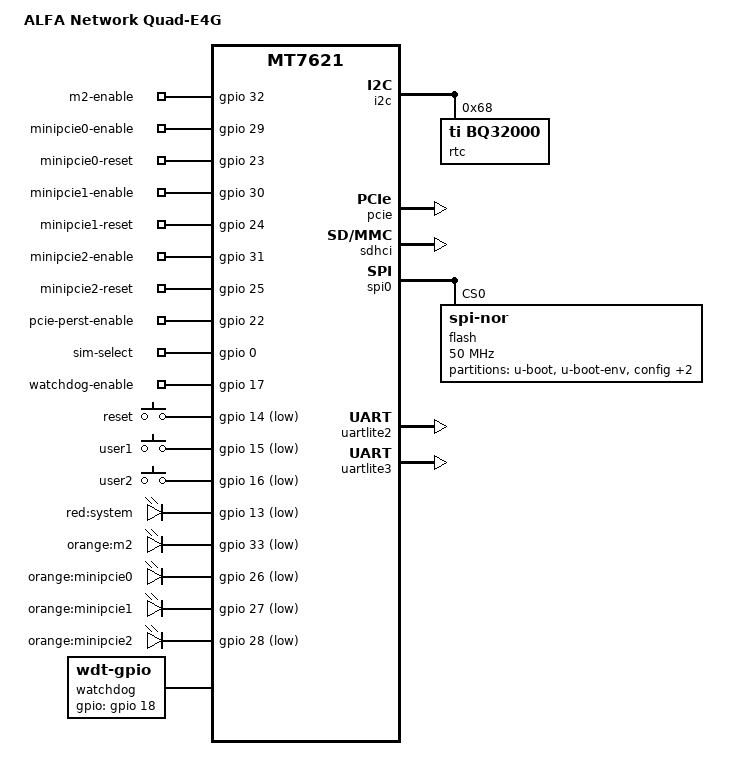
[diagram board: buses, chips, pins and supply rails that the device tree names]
// SPDX-License-Identifier: GPL-2.0-or-later OR MIT

#include "mt7621.dtsi"

#include <dt-bindings/gpio/gpio.h>
#include <dt-bindings/input/input.h>

/ {
	compatible = "alfa-network,quad-e4g", "mediatek,mt7621-soc";
	model = "ALFA Network Quad-E4G";

	aliases {
		label-mac-device = &gmac0;
		led-boot = &led_system;
		led-failsafe = &led_system;
		led-running = &led_system;
		led-upgrade = &led_system;
	};

	chosen {
		bootargs = "console=ttyS0,115200";
	};

	gpio-export {
		compatible = "gpio-export";
		#size-cells = <0>;

		m2-enable {
			gpio-export,name = "m2-enable";
			gpio-export,output = <1>;
			gpios = <&gpio 32 GPIO_ACTIVE_HIGH>;
		};

		minipcie0-enable {
			gpio-export,name = "minipcie0-enable";
			gpio-export,output = <1>;
			gpios = <&gpio 29 GPIO_ACTIVE_HIGH>;
		};

		minipcie0-reset {
			gpio-export,name = "minipcie0-reset";
			gpio-export,output = <0>;
			gpios = <&gpio 23 GPIO_ACTIVE_HIGH>;
		};

		minipcie1-enable {
			gpio-export,name = "minipcie1-enable";
			gpio-export,output = <1>;
			gpios = <&gpio 30 GPIO_ACTIVE_HIGH>;
		};

		minipcie1-reset {
			gpio-export,name = "minipcie1-reset";
			gpio-export,output = <0>;
			gpios = <&gpio 24 GPIO_ACTIVE_HIGH>;
		};

		minipcie2-enable {
			gpio-export,name = "minipcie2-enable";
			gpio-export,output = <1>;
			gpios = <&gpio 31 GPIO_ACTIVE_HIGH>;
		};

		minipcie2-reset {
			gpio-export,name = "minipcie2-reset";
			gpio-export,output = <0>;
			gpios = <&gpio 25 GPIO_ACTIVE_HIGH>;
		};

		pcie-perst-disable {
			gpio-export,name = "pcie-perst-enable";
			gpio-export,output = <0>;
			gpios = <&gpio 22 GPIO_ACTIVE_HIGH>;
		};

		sim-select {
			gpio-export,name = "sim-select";
			gpio-export,output = <1>;
			gpios = <&gpio 0 GPIO_ACTIVE_HIGH>;
		};

		watchdog-enable {
			gpio-export,name = "watchdog-enable";
			gpio-export,output = <1>;
			gpios = <&gpio 17 GPIO_ACTIVE_HIGH>;
		};
	};

	keys {
		compatible = "gpio-keys";

		reset {
			label = "reset";
			gpios = <&gpio 14 GPIO_ACTIVE_LOW>;
			linux,code = <KEY_RESTART>;
		};

		user1 {
			label = "user1";
			gpios = <&gpio 15 GPIO_ACTIVE_LOW>;
			linux,code = <BTN_0>;
		};

		user2 {
			label = "user2";
			gpios = <&gpio 16 GPIO_ACTIVE_LOW>;
			linux,code = <BTN_1>;
		};
	};

	leds {
		compatible = "gpio-leds";

		led_system: system {
			label = "red:system";
			gpios = <&gpio 13 GPIO_ACTIVE_LOW>;
			default-state = "keep";
		};

		m2 {
			label = "orange:m2";
			gpios = <&gpio 33 GPIO_ACTIVE_LOW>;
		};

		minipcie0 {
			label = "orange:minipcie0";
			gpios = <&gpio 26 GPIO_ACTIVE_LOW>;
		};

		minipcie1 {
			label = "orange:minipcie1";
			gpios = <&gpio 27 GPIO_ACTIVE_LOW>;
		};

		minipcie2 {
			label = "orange:minipcie2";
			gpios = <&gpio 28 GPIO_ACTIVE_LOW>;
		};
	};

	watchdog {
		compatible = "linux,wdt-gpio";
		gpios = <&gpio 18 GPIO_ACTIVE_HIGH>;
		hw_algo = "toggle";
		hw_margin_ms = <25000>;
		always-running;
	};
};

&ethernet {
	pinctrl-0 = <&mdio_pins>, <&rgmii1_pins>;
};

&gmac0 {
	mtd-mac-address = <&factory 0xe000>;
};

&switch0 {
	ports {
		port@0 {
			status = "okay";
			label = "lan4";
		};

		port@1 {
			status = "okay";
			label = "lan3";
		};

		port@2 {
			status = "okay";
			label = "lan2";
		};

		port@3 {
			status = "okay";
			label = "lan1";
		};

		port@4 {
			status = "okay";
			label = "wan";
			mtd-mac-address = <&factory 0xe006>;
		};
	};
};

&i2c {
	status = "okay";

	rtc@68 {
		compatible = "ti,bq32000";
		reg = <0x68>;
	};
};

&pcie {
	status = "okay";
};

&state_default {
	gpio {
		groups = "jtag", "rgmii2", "wdt";
		function = "gpio";
	};
};

&sdhci {
	status = "okay";
};

&spi0 {
	status = "okay";

	flash@0 {
		compatible = "jedec,spi-nor";
		reg = <0>;
		spi-max-frequency = <50000000>;
		m25p,fast-read;

		partitions {
			compatible = "fixed-partitions";
			#address-cells = <1>;
			#size-cells = <1>;

			partition@0 {
				label = "u-boot";
				reg = <0x0 0x30000>;
			};

			partition@30000 {
				label = "u-boot-env";
				reg = <0x30000 0x1000>;
			};

			partition@31000 {
				label = "config";
				reg = <0x31000 0xf000>;
				read-only;
			};

			factory: partition@40000 {
				label = "factory";
				reg = <0x40000 0x10000>;
				read-only;
			};

			partition@50000 {
				compatible = "denx,uimage";
				label = "firmware";
				reg = <0x50000 0xfb0000>;
			};
		};
	};
};

&uartlite2 {
	status = "okay";
};

&uartlite3 {
	status = "okay";
};
